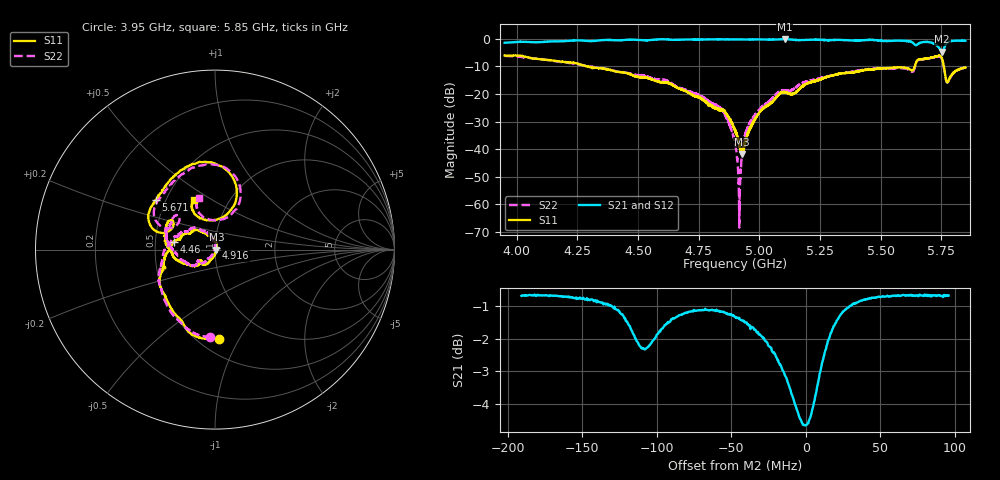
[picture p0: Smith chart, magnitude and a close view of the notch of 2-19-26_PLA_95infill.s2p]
# GHZ S RI R 50.000000000000
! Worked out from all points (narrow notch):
!   4501 points, 3.95 GHz to 5.85 GHz, reference 50 ohm
!   highest |S21| = -0.09 dB at 5.105 GHz (marker M1); lowest = -4.7 dB at 5.754 GHz (marker M2)
!   notch at M2: 4.2 dB deep, 31.8 MHz wide at half that depth
!   lowest |S11| = -41.7 dB at 4.928 GHz (marker M3), VSWR 1.02, Z = 50.8 + j0.027 ohm
!   |S11| at or under -10 dB: 4.290168 GHz to 4.291104 GHz (936.2 kHz wide, 0.0218 % of centre); 4.291 GHz to 5.641 GHz (1.35 GHz wide, 27.2 % of centre); 5.761 GHz to end of sweep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
!   |S22| runs from -68.4 to -6.2 dB; largest |S21 - S12| = 0.035
!   S11 on the Smith chart (normalised r, x): 3.95 GHz: 0.62, -0.83; 4.46 GHz: 0.62, +0.06; 4.916 GHz: 1.02, +0.02; 5.671 GHz: 0.44, +0.30; 5.85 GHz: 0.68, +0.42
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3.95  0.0202 -0.5006  0.8491 -0.00216  0.8363 -0.00374  -0.0252 -0.4896
4.131556  -0.2389 -0.3368  0.7088 -0.5425  0.7031 -0.5436  -0.2671 -0.3106
4.267089  -0.3044 -0.1453  0.3702 -0.8561  0.3745 -0.867  -0.3108 -0.1295
4.460044  -0.2307 0.0424  -0.215 -0.9397  -0.2147 -0.9481  -0.2277 0.069
4.583756  -0.1405 0.0905  -0.5816 -0.7853  -0.5665 -0.7946  -0.1528 0.102
4.840889  -0.00409 0.0512  -0.9741 -0.0923  -0.9766 -0.1052  -0.00871 0.0535
4.9  0.00769 0.0203  -0.9725 0.0857  -0.9758 0.0749  0.00011 0.0129
4.916044  0.00816 0.0104  -0.9673 0.1362  -0.97 0.1253  -0.000286 0.0016
4.923222  0.0094 0.00407  -0.963 0.1576  -0.9654 0.1459  -0.000653 -0.00374
4.927867  0.0082 0.000266  -0.9589 0.1695  -0.9665 0.1587  -0.00156 -0.00761
4.9418  0.00748 -0.0115  -0.9499 0.21  -0.9534 0.1987  -0.00582 -0.0171
4.967978  -0.00167 -0.0255  -0.934 0.2856  -0.9344 0.2717  -0.0163 -0.0297
5.1052  -0.0811 -0.0741  -0.7343 0.6636  -0.7508 0.6491  -0.0958 -0.0651
5.217089  -0.1432 -0.0859  -0.4722 0.8403  -0.4817 0.8289  -0.1635 -0.0677
5.343333  -0.2363 -0.031  -0.122 0.946  -0.1239 0.9521  -0.2394 0.00417
5.533756  -0.2731 0.1131  0.3795 0.8308  0.3678 0.8398  -0.247 0.1434
5.630444  -0.2342 0.1278  0.6268 0.5981  0.6141 0.6112  -0.2017 0.1526
5.6714  -0.3309 0.2765  0.6112 0.6149  0.5988 0.6224  -0.2927 0.3046
5.720378  -0.2272 0.4098  0.7056 0.4181  0.6991 0.4323  -0.1758 0.4264
5.754156  0.0837 0.4226  0.4593 0.3616  0.4541 0.3674  0.1141 0.4031
5.776956  -0.0336 0.1635  0.631 0.5858  0.6161 0.5973  -0.0131 0.1646
5.85  -0.1196 0.2771  0.8671 0.3244  0.8606 0.3401  -0.0886 0.29
